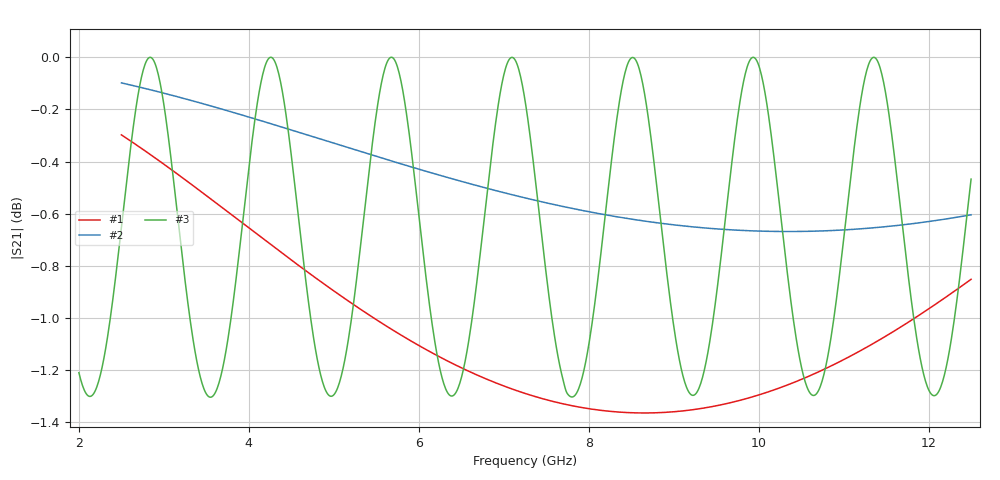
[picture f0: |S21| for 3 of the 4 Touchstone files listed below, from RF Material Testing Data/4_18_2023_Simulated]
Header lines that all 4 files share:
! TOUCHSTONE file generated by CST MICROWAVE STUDIO
! Header version: 2018
! Port assignment regex: !\s*Touchstone port\s*([0-9]+)\s*=\s*(CST MWS port|CST DS port)\s*([0-9]+|Zmin|Zmax)\s*\(\"(.*)\"\)(\s*mode\s*([0-9]+))?.*
! Touchstone port assignment:
! Touchstone port 1 = CST MWS port 1 ("")
! Touchstone port 2 = CST MWS port 2 ("")
# GHz S MA R 50
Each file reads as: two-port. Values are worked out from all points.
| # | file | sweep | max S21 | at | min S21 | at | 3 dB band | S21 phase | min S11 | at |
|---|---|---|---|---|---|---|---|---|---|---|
| 1 | airline_sim_pla2.s2p | 2.5 GHz to 12.5 GHz | -0.30 dB | 2.5 GHz | -1.4 dB | 8.65 GHz | 2.5 GHz-12.5 GHz | -80 deg at 7.5 GHz | -11.8 dB | 2.5 GHz |
| 2 | airline_sim_ptfe.s2p | 2.5 GHz to 12.5 GHz | -0.10 dB | 2.5 GHz | -0.7 dB | 10.35 GHz | 2.5 GHz-12.5 GHz | -67 deg at 7.5 GHz | -16.5 dB | 2.5 GHz |
| 3 | pla_sim.s2p | 2 GHz to 12.5 GHz | 0.00 dB | 5.675 GHz | -1.3 dB | 3.543 GHz | 2 GHz-12.5 GHz | 158 deg at 7.25 GHz | -62.0 dB | 11.36 GHz |
| 4 | pla_sim_4.s2p | 2.5 GHz to 12.5 GHz | -0.30 dB | 2.5 GHz | -1.4 dB | 8.65 GHz | 2.5 GHz-12.5 GHz | -80 deg at 7.5 GHz | -11.8 dB | 2.5 GHz |
